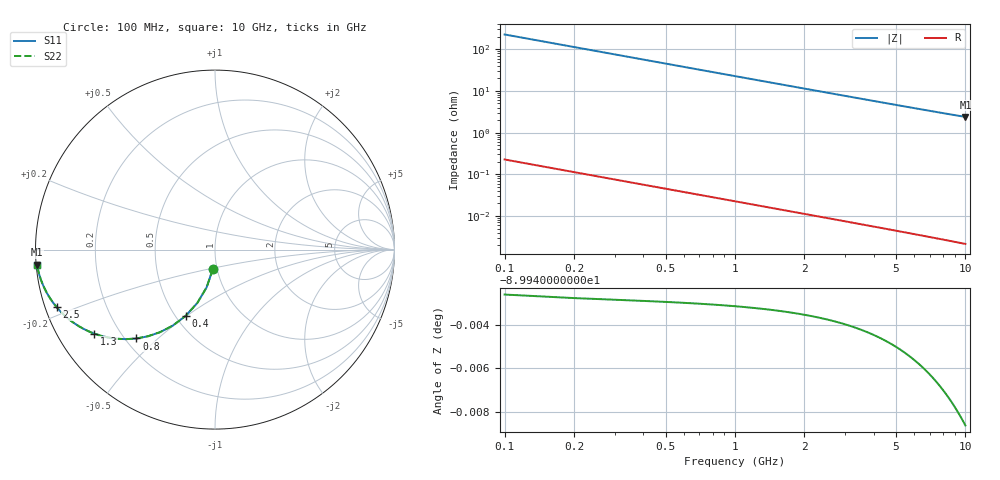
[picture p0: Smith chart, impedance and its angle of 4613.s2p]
# Hz S RI R 50.00
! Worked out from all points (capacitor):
!   100 points, 100 MHz to 10 GHz, reference 50 ohm
!   read as one part in shunt: C = 7.03 pF near 100 MHz
!   lowest |Z| = 2.38 ohm at 10 GHz (marker M1)
!   S11 on the Smith chart (normalised r, x): 100 MHz: 0.95, -0.21; 400 MHz: 0.56, -0.50; 800 MHz: 0.24, -0.43; 1.3 GHz: 0.11, -0.31; 2.5 GHz: 0.03, -0.18; 10 GHz: 0.00, -0.04
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1e8  -0.0122 -0.1091  0.9878 -0.1092  0.9878 -0.1092  -0.0122 -0.1091
2e8  -0.0467 -0.2105  0.9533 -0.2107  0.9533 -0.2107  -0.0467 -0.2105
3e8  -0.0992 -0.2983  0.9008 -0.2985  0.9008 -0.2985  -0.0992 -0.2983
4e8  -0.1635 -0.3692  0.8365 -0.3695  0.8365 -0.3695  -0.1635 -0.3692
5e8  -0.2338 -0.4225  0.7662 -0.423  0.7662 -0.423  -0.2338 -0.4225
6e8  -0.3051 -0.4597  0.6949 -0.4602  0.6949 -0.4602  -0.3051 -0.4597
7e8  -0.3738 -0.483  0.6261 -0.4836  0.6261 -0.4836  -0.3738 -0.483
8e8  -0.4379 -0.4953  0.562 -0.496  0.562 -0.496  -0.4379 -0.4953
1e9  -0.5487 -0.4967  0.4513 -0.4976  0.4513 -0.4976  -0.5487 -0.4967
1.1e9  -0.5951 -0.4899  0.4049 -0.4909  0.4049 -0.4909  -0.5951 -0.4899
1.3e9  -0.6721 -0.4683  0.3279 -0.4695  0.3279 -0.4695  -0.6721 -0.4683
1.5e9  -0.7316 -0.4419  0.2684 -0.4433  0.2684 -0.4433  -0.7316 -0.4419
1.8e9  -0.7966 -0.4012  0.2034 -0.4028  0.2034 -0.4028  -0.7966 -0.4012
2.1e9  -0.8418 -0.3634  0.1582 -0.3654  0.1582 -0.3654  -0.8418 -0.3634
2.5e9  -0.8827 -0.3201  0.1173 -0.3224  0.1173 -0.3224  -0.8827 -0.3201
2.9e9  -0.91 -0.2844  0.09 -0.2871  0.09 -0.2871  -0.91 -0.2844
3.4e9  -0.9327 -0.2484  0.0672 -0.2516  0.0672 -0.2516  -0.9327 -0.2484
4.2e9  -0.9548 -0.2053  0.0452 -0.2092  0.0452 -0.2092  -0.9548 -0.2053
5.1e9  -0.9688 -0.1708  0.0311 -0.1756  0.0311 -0.1756  -0.9688 -0.1708
6.7e9  -0.9817 -0.1302  0.0183 -0.1366  0.0183 -0.1366  -0.9817 -0.1302
8.4e9  -0.9883 -0.1028  0.0116 -0.1108  0.0116 -0.1108  -0.9883 -0.1028
1e10  -0.9918 -0.0848  0.00816 -0.0945  0.00816 -0.0945  -0.9918 -0.0848
